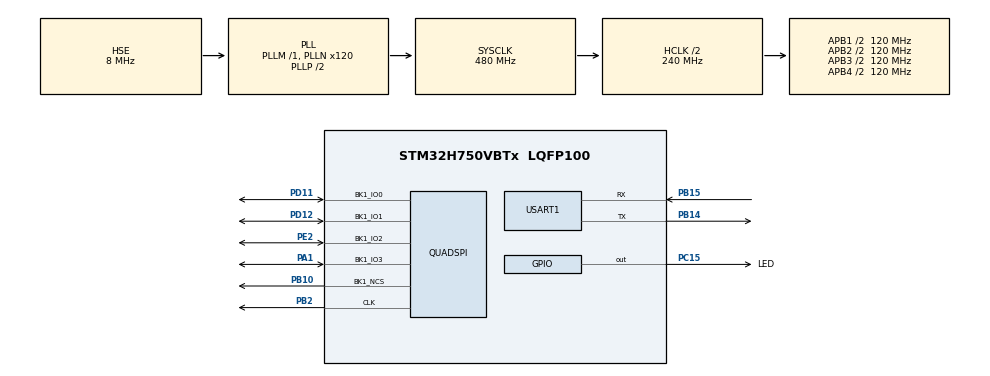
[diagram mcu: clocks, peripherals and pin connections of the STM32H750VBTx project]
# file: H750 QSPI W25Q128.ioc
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CORTEX_M7.CPU_DCache=Enabled
CORTEX_M7.CPU_ICache=Enabled
Mcu.Family=STM32H7
Mcu.Name=STM32H750VBTx
Mcu.Package=LQFP100
NVIC.PriorityGroup=NVIC_PRIORITYGROUP_4
PA1.Mode=Single Bank 1
PA1.Signal=QUADSPI_BK1_IO3
PB10.Mode=Single Bank 1
PB10.Signal=QUADSPI_BK1_NCS
PB14.Mode=Asynchronous
PB14.Signal=USART1_TX
PB15.Mode=Asynchronous
PB15.Signal=USART1_RX
PB2.Mode=Single Bank 1
PB2.Signal=QUADSPI_CLK
PC15-OSC32_OUT\ (OSC32_OUT).GPIO_Label=LED
PC15-OSC32_OUT\ (OSC32_OUT).Signal=GPIO_Output
PD11.Mode=Single Bank 1
PD11.Signal=QUADSPI_BK1_IO0
PD12.Mode=Single Bank 1
PD12.Signal=QUADSPI_BK1_IO1
PE2.Mode=Single Bank 1
PE2.Signal=QUADSPI_BK1_IO2
PH0-OSC_IN\ (PH0).Mode=HSE-External-Oscillator
PH0-OSC_IN\ (PH0).Signal=RCC_OSC_IN
PH1-OSC_OUT\ (PH1).Mode=HSE-External-Oscillator
PH1-OSC_OUT\ (PH1).Signal=RCC_OSC_OUT
ProjectManager.HeapSize=0x200
ProjectManager.StackSize=0x400
ProjectManager.TargetToolchain=STM32CubeIDE
QUADSPI.ChipSelectHighTime=QSPI_CS_HIGH_TIME_2_CYCLE
QUADSPI.ClockPrescaler=8
QUADSPI.FifoThreshold=4
QUADSPI.FlashSize=23
QUADSPI.SampleShifting=QSPI_SAMPLE_SHIFTING_HALFCYCLE
RCC.ADCFreq_Value=120000000
RCC.APB1Freq_Value=120000000
RCC.APB2Freq_Value=120000000
RCC.APB3Freq_Value=120000000
RCC.APB4Freq_Value=120000000
RCC.CortexFreq_Value=480000000
RCC.D1PPRE=RCC_APB3_DIV2
RCC.D2PPRE1=RCC_APB1_DIV2
RCC.D2PPRE2=RCC_APB2_DIV2
RCC.D3PPRE=RCC_APB4_DIV2
RCC.DIVM1=1
RCC.DIVM2=1
RCC.DIVN1=120
RCC.DIVN2=30
RCC.HCLKFreq_Value=240000000
RCC.HPRE=RCC_HCLK_DIV2
RCC.HSE_VALUE=8000000
RCC.PLL2FRACN=0
RCC.PLL3FRACN=0
RCC.PLLFRACN=0
RCC.PLLSourceVirtual=RCC_PLLSOURCE_HSE
RCC.QSPICLockSelection=RCC_QSPICLKSOURCE_PLL2
RCC.SYSCLKFreq_VALUE=480000000
RCC.SYSCLKSource=RCC_SYSCLKSOURCE_PLLCLK
RCC.USBFreq_Value=480000000
USART1.VirtualMode-Asynchronous=VM_ASYNC
board=custom

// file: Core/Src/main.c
/* USER CODE BEGIN Header */
/**
  ******************************************************************************
  * @file           : main.c
  * @brief          : Main program body
  ******************************************************************************
  * @attention
  *
  * <h2><center>&copy; Copyright (c) 2020 STMicroelectronics.
  * All rights reserved.</center></h2>
  *
  * This software component is licensed by ST under BSD 3-Clause license,
  * the "License"; You may not use this file except in compliance with the
  * License. You may obtain a copy of the License at:
  *                        opensource.org/licenses/BSD-3-Clause
  *
  ******************************************************************************
  */
/* USER CODE END Header */

#include "main.h"
#include "quadspi.h"
#include "usart.h"
#include "gpio.h"

/* USER CODE BEGIN Includes */
#include <stdio.h>
#include <string.h>
#include "stm32746g_qspi.h"

/* USER CODE END Includes */

/* USER CODE BEGIN PV */
uint16_t ret;

/* USER CODE END PV */

void SystemClock_Config(void);

/* USER CODE BEGIN 0 */
void HAL_SYSTICK_Callback(void)
{
	static int cnt = 0;

	cnt++;
	if(cnt > ret)
	{
		cnt = 0;
		HAL_GPIO_TogglePin(LED_GPIO_Port, LED_Pin);
	}
}

/* USER CODE END 0 */

int main(void)
{
  /* USER CODE BEGIN 1 */
	QSPI_CommandTypeDef s_command;
	uint8_t pData[3];
	uint8_t wData[0x100];
	uint8_t rData[0x100];
	uint32_t i;

  /* USER CODE END 1 */

  /* Enable I-Cache---------------------------------------------------------*/
  SCB_EnableICache();

  /* Enable D-Cache---------------------------------------------------------*/
  SCB_EnableDCache();

  /* MCU Configuration--------------------------------------------------------*/

  /* Reset of all peripherals, Initializes the Flash interface and the Systick. */
  HAL_Init();

  /* Configure the system clock */
  SystemClock_Config();

  /* Initialize all configured peripherals */
  MX_GPIO_Init();
  MX_QUADSPI_Init();
  MX_USART1_UART_Init();
  /* USER CODE BEGIN 2 */
  ret = 100;

	printf("***************QuadSPi Example*******************************\r\n");
	BSP_QSPI_Init();

	/*##-2-Read Device ID Test    ###########################################*/
	/* Read Manufacture/Device ID */
	s_command.InstructionMode   = QSPI_INSTRUCTION_1_LINE;
  s_command.Instruction       = READ_ID_CMD;
  s_command.AddressMode       = QSPI_ADDRESS_1_LINE;
  s_command.AddressSize       = QSPI_ADDRESS_24_BITS;
  s_command.Address           = 0x000000;
  s_command.AlternateByteMode = QSPI_ALTERNATE_BYTES_NONE;
  s_command.DataMode          = QSPI_DATA_1_LINE;
  s_command.DummyCycles       = 0;
  s_command.NbData            = 2;
  s_command.DdrMode           = QSPI_DDR_MODE_DISABLE;
  s_command.DdrHoldHalfCycle  = QSPI_DDR_HHC_ANALOG_DELAY;
  s_command.SIOOMode          = QSPI_SIOO_INST_EVERY_CMD;

  if (HAL_QSPI_Command(&hqspi, &s_command, HAL_QPSI_TIMEOUT_DEFAULT_VALUE) != HAL_OK)
  {
		Error_Handler();
  }
	if (HAL_QSPI_Receive(&hqspi, pData, HAL_QPSI_TIMEOUT_DEFAULT_VALUE) != HAL_OK)
  {
		Error_Handler();
  }
	printf("SPI  I/0 Read Device ID : 0x%2X 0x%2X\r\n",pData[0],pData[1]);

	/* Read Manufacture/Device ID Dual I/O*/
	s_command.InstructionMode   = QSPI_INSTRUCTION_1_LINE;
  s_command.Instruction       = DUAL_READ_ID_CMD;
  s_command.AddressMode       = QSPI_ADDRESS_2_LINES;
  s_command.AddressSize       = QSPI_ADDRESS_24_BITS;
  s_command.Address           = 0x000000;
  s_command.AlternateByteMode = QSPI_ALTERNATE_BYTES_2_LINES;
	s_command.AlternateBytesSize= QSPI_ALTERNATE_BYTES_8_BITS;
	s_command.AlternateBytes    = 0;
  s_command.DataMode          = QSPI_DATA_2_LINES;
  s_command.DummyCycles       = 0;
  s_command.NbData            = 2;
  s_command.DdrMode           = QSPI_DDR_MODE_DISABLE;
  s_command.DdrHoldHalfCycle  = QSPI_DDR_HHC_ANALOG_DELAY;
  s_command.SIOOMode          = QSPI_SIOO_INST_EVERY_CMD;

  if (HAL_QSPI_Command(&hqspi, &s_command, HAL_QPSI_TIMEOUT_DEFAULT_VALUE) != HAL_OK)
  {
		Error_Handler();
  }
	if (HAL_QSPI_Receive(&hqspi, pData, HAL_QPSI_TIMEOUT_DEFAULT_VALUE) != HAL_OK)
  {
		Error_Handler();
  }
	printf("Dual I/O Read Device ID : 0x%2X 0x%2X\r\n",pData[0],pData[1]);

	/* Read Manufacture/Device ID Quad I/O*/
	s_command.InstructionMode   = QSPI_INSTRUCTION_1_LINE;
  s_command.Instruction       = QUAD_READ_ID_CMD;
  s_command.AddressMode       = QSPI_ADDRESS_4_LINES;
  s_command.AddressSize       = QSPI_ADDRESS_24_BITS;
  s_command.Address           = 0x000000;
  s_command.AlternateByteMode = QSPI_ALTERNATE_BYTES_4_LINES;
	s_command.AlternateBytesSize= QSPI_ALTERNATE_BYTES_8_BITS;
	s_command.AlternateBytes    = 0x00;
  s_command.DataMode          = QSPI_DATA_4_LINES;
  s_command.DummyCycles       = 4;
  s_command.NbData            = 2;
  s_command.DdrMode           = QSPI_DDR_MODE_DISABLE;
  s_command.DdrHoldHalfCycle  = QSPI_DDR_HHC_ANALOG_DELAY;
  s_command.SIOOMode          = QSPI_SIOO_INST_EVERY_CMD;

  if (HAL_QSPI_Command(&hqspi, &s_command, HAL_QPSI_TIMEOUT_DEFAULT_VALUE) != HAL_OK)
  {
		Error_Handler();
  }
	if (HAL_QSPI_Receive(&hqspi, pData, HAL_QPSI_TIMEOUT_DEFAULT_VALUE) != HAL_OK)
  {
		Error_Handler();
  }
	printf("Quad I/O Read Device ID : 0x%2X 0x%2X\r\n",pData[0],pData[1]);

	/* Read JEDEC ID */
	s_command.InstructionMode   = QSPI_INSTRUCTION_1_LINE;
  s_command.Instruction       = READ_JEDEC_ID_CMD;
  s_command.AddressMode       = QSPI_ADDRESS_NONE;
  s_command.AlternateByteMode = QSPI_ALTERNATE_BYTES_NONE;
  s_command.DataMode          = QSPI_DATA_1_LINE;
  s_command.DummyCycles       = 0;
  s_command.NbData            = 3;
  s_command.DdrMode           = QSPI_DDR_MODE_DISABLE;
  s_command.DdrHoldHalfCycle  = QSPI_DDR_HHC_ANALOG_DELAY;
  s_command.SIOOMode          = QSPI_SIOO_INST_EVERY_CMD;

  if (HAL_QSPI_Command(&hqspi, &s_command, HAL_QPSI_TIMEOUT_DEFAULT_VALUE) != HAL_OK)
  {
		Error_Handler();
  }
	if (HAL_QSPI_Receive(&hqspi, pData, HAL_QPSI_TIMEOUT_DEFAULT_VALUE) != HAL_OK)
  {
		Error_Handler();
  }
	printf("Read JEDEC ID :  0x%2X 0x%2X 0x%2X\r\n\r\n",pData[0],pData[1],pData[2]);

	/*##-3-QSPI Erase/Write/Read Test    ###########################################*/
	/* fill buffer */
	for(i =0;i<0x100;i ++)
	{
			wData[i] = i;
		  rData[i] = 0;
	}

	if(BSP_QSPI_Erase_Block(0) == QSPI_OK)
		printf(" QSPI Erase Block ok\r\n");
	else
		Error_Handler();

	if(BSP_QSPI_Write(wData,0x00,0x100)== QSPI_OK)
		printf(" QSPI Write ok\r\n");
	else
		Error_Handler();

	if(BSP_QSPI_Read(rData,0x00,0x100)== QSPI_OK)
		printf(" QSPI Read ok\r\n\r\n");
	else
		Error_Handler();

	printf("QSPI Read Data : \r\n");
	for(i = 0; i < 0x100; i++)
	{
		printf("0x%02X  ", rData[i]);
		//HAL_Delay(1);
	}
	printf("\r\n\r\n");

	for(i =0;i<0x100;i++)
		if(rData[i] != wData[i])printf("0x%02X 0x%02X ",wData[i],rData[i]);
	printf("\r\n\r\n");
	/* check date */
	if(memcmp(wData,rData,0x100) == 0 )
		printf(" W25Q128FV QuadSPI Test OK\r\n");
	else
		printf(" W25Q128FV QuadSPI Test False\r\n");

	ret = 500;
  /* USER CODE END 2 */

  /* Infinite loop */
  while (1)
  {

  }
}

void SystemClock_Config(void)
{
  RCC_OscInitTypeDef RCC_OscInitStruct = {0};
  RCC_ClkInitTypeDef RCC_ClkInitStruct = {0};
  RCC_PeriphCLKInitTypeDef PeriphClkInitStruct = {0};

  /** Supply configuration update enable
  */
  HAL_PWREx_ConfigSupply(PWR_LDO_SUPPLY);
  /** Configure the main internal regulator output voltage
  */
  __HAL_PWR_VOLTAGESCALING_CONFIG(PWR_REGULATOR_VOLTAGE_SCALE0);

  while(!__HAL_PWR_GET_FLAG(PWR_FLAG_VOSRDY)) {}
  /** Macro to configure the PLL clock source
  */
  __HAL_RCC_PLL_PLLSOURCE_CONFIG(RCC_PLLSOURCE_HSE);
  /** Initializes the CPU, AHB and APB busses clocks
  */
  RCC_OscInitStruct.OscillatorType = RCC_OSCILLATORTYPE_HSE;
  RCC_OscInitStruct.HSEState = RCC_HSE_ON;
  RCC_OscInitStruct.PLL.PLLState = RCC_PLL_ON;
  RCC_OscInitStruct.PLL.PLLSource = RCC_PLLSOURCE_HSE;
  RCC_OscInitStruct.PLL.PLLM = 1;
  RCC_OscInitStruct.PLL.PLLN = 120;
  RCC_OscInitStruct.PLL.PLLP = 2;
  RCC_OscInitStruct.PLL.PLLQ = 2;
  RCC_OscInitStruct.PLL.PLLR = 2;
  RCC_OscInitStruct.PLL.PLLRGE = RCC_PLL1VCIRANGE_3;
  RCC_OscInitStruct.PLL.PLLVCOSEL = RCC_PLL1VCOWIDE;
  RCC_OscInitStruct.PLL.PLLFRACN = 0;
  if (HAL_RCC_OscConfig(&RCC_OscInitStruct) != HAL_OK)
  {
    Error_Handler();
  }
  /** Initializes the CPU, AHB and APB busses clocks
  */
  RCC_ClkInitStruct.ClockType = RCC_CLOCKTYPE_HCLK|RCC_CLOCKTYPE_SYSCLK
                              |RCC_CLOCKTYPE_PCLK1|RCC_CLOCKTYPE_PCLK2
                              |RCC_CLOCKTYPE_D3PCLK1|RCC_CLOCKTYPE_D1PCLK1;
  RCC_ClkInitStruct.SYSCLKSource = RCC_SYSCLKSOURCE_PLLCLK;
  RCC_ClkInitStruct.SYSCLKDivider = RCC_SYSCLK_DIV1;
  RCC_ClkInitStruct.AHBCLKDivider = RCC_HCLK_DIV2;
  RCC_ClkInitStruct.APB3CLKDivider = RCC_APB3_DIV2;
  RCC_ClkInitStruct.APB1CLKDivider = RCC_APB1_DIV2;
  RCC_ClkInitStruct.APB2CLKDivider = RCC_APB2_DIV2;
  RCC_ClkInitStruct.APB4CLKDivider = RCC_APB4_DIV2;

  if (HAL_RCC_ClockConfig(&RCC_ClkInitStruct, FLASH_LATENCY_4) != HAL_OK)
  {
    Error_Handler();
  }
  PeriphClkInitStruct.PeriphClockSelection = RCC_PERIPHCLK_USART1|RCC_PERIPHCLK_QSPI;
  PeriphClkInitStruct.PLL2.PLL2M = 1;
  PeriphClkInitStruct.PLL2.PLL2N = 30;
  PeriphClkInitStruct.PLL2.PLL2P = 2;
  PeriphClkInitStruct.PLL2.PLL2Q = 2;
  PeriphClkInitStruct.PLL2.PLL2R = 2;
  PeriphClkInitStruct.PLL2.PLL2RGE = RCC_PLL2VCIRANGE_3;
  PeriphClkInitStruct.PLL2.PLL2VCOSEL = RCC_PLL2VCOWIDE;
  PeriphClkInitStruct.PLL2.PLL2FRACN = 0;
  PeriphClkInitStruct.QspiClockSelection = RCC_QSPICLKSOURCE_PLL2;
  PeriphClkInitStruct.Usart16ClockSelection = RCC_USART16CLKSOURCE_D2PCLK2;
  if (HAL_RCCEx_PeriphCLKConfig(&PeriphClkInitStruct) != HAL_OK)
  {
    Error_Handler();
  }
}

void Error_Handler(void)
{
}

/************************ (C) COPYRIGHT STMicroelectronics *****END OF FILE****/
